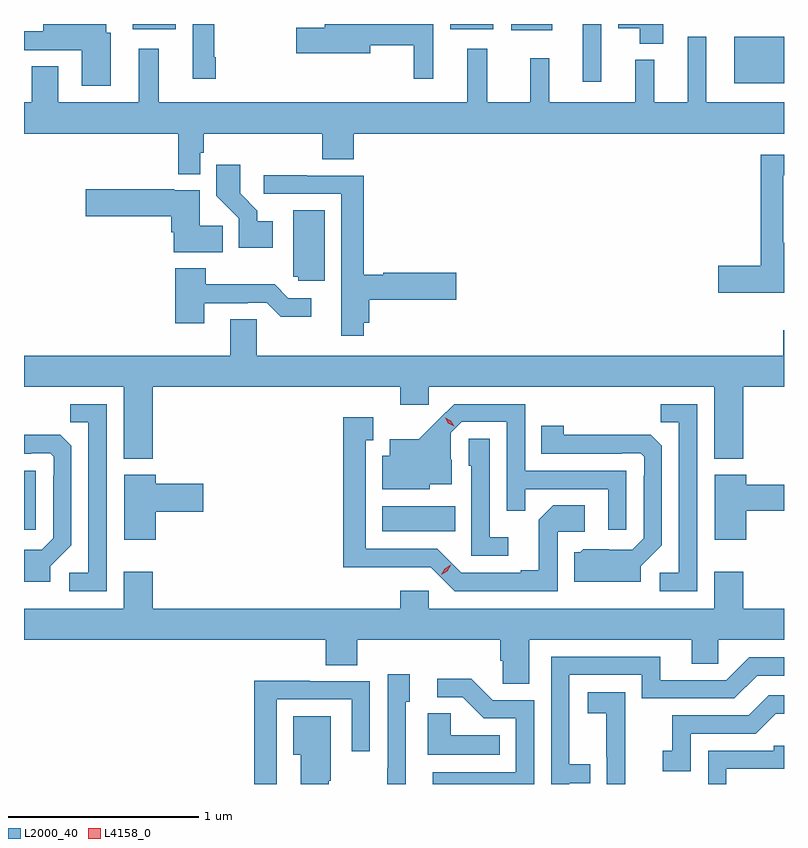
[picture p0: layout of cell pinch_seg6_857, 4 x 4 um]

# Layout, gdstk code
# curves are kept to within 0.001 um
import gdstk
lib = gdstk.Library(unit=1e-6, precision=1e-09)
def R(c, l, rs):  # rectangles x0, y0, x1, y1
    for r in rs: c.add(gdstk.rectangle(r[:2], r[2:], *l))
def P(c, l, *ps):  # polygons
    for p in ps: c.add(gdstk.Polygon(p, *l))
L2000_40 = (2000, 40)
L4158_0 = (4158, 0)

pinch_seg6_857 = lib.new_cell('pinch_seg6_857')
R(pinch_seg6_857, L2000_40, [(143.366,918.602,143.75,918.736), (141.48,918.612,141.543,918.921), (145.217,920.96,145.48,921.205), (144.422,920.97,144.519,921.273), (144.044,921.239,144.259,921.273), (142.052,921.245,142.279,921.273), (143.723,921.245,143.95,921.273)])
P(pinch_seg6_857, L2000_40, [(141.937,921.228),(141.913,921.228),(141.913,921.273),(141.581,921.273),(141.581,921.236),(141.48,921.236),(141.48,921.135),(141.785,921.135),(141.785,920.949),(141.937,920.949)],
  [(143.635,921.273),(143.063,921.273),(143.063,921.254),(142.914,921.254),(142.914,921.119),(143.302,921.119),(143.302,921.162),(143.531,921.162),(143.531,920.985),(143.635,920.985)],
  [(144.844,921.273),(144.608,921.273),(144.608,921.251),(144.722,921.251),(144.722,921.17),(144.844,921.17)],
  [(142.489,921.097),(142.481,921.097),(142.481,921.273),(142.367,921.273),(142.367,920.985),(142.489,920.985)],
  [(142.407,920.595),(142.427,920.595),(142.427,920.696),(143.051,920.696),(143.051,920.56),(143.216,920.56),(143.216,920.696),(145.48,920.696),(145.48,920.86),(145.072,920.86),(145.072,921.205),(144.974,921.205),(144.974,920.86),(144.797,920.86),(144.797,921.085),(144.698,921.085),(144.698,920.86),(144.245,920.86),(144.245,921.094),(144.145,921.094),(144.145,920.86),(143.917,920.86),(143.917,921.142),(143.813,921.142),(143.813,920.86),(142.189,920.86),(142.189,921.142),(142.085,921.142),(142.085,920.86),(141.661,920.86),(141.661,921.05),(141.521,921.05),(141.521,920.86),(141.48,920.86),(141.48,920.696),(142.291,920.696),(142.291,920.483),(142.407,920.483)],
  [(145.48,920.122),(145.475,920.122),(145.475,920.478),(145.48,920.478),(145.48,920.586),(145.357,920.586),(145.357,920),(145.134,920),(145.134,919.858),(145.48,919.858)],
  [(142.789,920.236),(142.708,920.236),(142.708,920.291),(142.618,920.381),(142.618,920.533),(142.492,920.533),(142.492,920.37),(142.611,920.251),(142.611,920.096),(142.789,920.096)],
  [(143.267,919.7),(143.297,919.7),(143.297,919.822),(143.755,919.822),(143.755,919.964),(143.37,919.964),(143.37,919.952),(143.267,919.952),(143.267,920.475),(142.967,920.475),(142.967,920.478),(142.743,920.478),(142.743,920.379),(143.151,920.379),(143.151,919.632),(143.267,919.632)],
  [(142.526,920.21),(142.405,920.21),(142.405,920.398),(142.272,920.398),(142.272,920.403),(141.804,920.403),(141.804,920.261),(142.256,920.261),(142.256,920.177),(142.268,920.177),(142.268,920.072),(142.526,920.072)],
  [(143.062,920.293),(142.898,920.293),(142.898,919.944),(142.923,919.944),(142.923,919.923),(143.062,919.923)],
  [(142.429,919.803),(142.658,919.803),(142.658,919.806),(142.758,919.806),(142.831,919.733),(142.993,919.733),(142.993,919.83),(142.872,919.83),(142.799,919.903),(142.437,919.903),(142.437,919.987),(142.277,919.987),(142.277,919.698),(142.429,919.698)],
  [(142.157,919.364),(143.459,919.364),(143.459,919.269),(143.61,919.269),(143.61,919.364),(145.112,919.364),(145.112,918.986),(145.265,918.986),(145.265,919.364),(145.48,919.364),(145.48,919.66),(145.475,919.66),(145.475,919.528),(142.704,919.528),(142.704,919.718),(142.565,919.718),(142.565,919.528),(141.48,919.528),(141.48,919.364),(142.004,919.364),(142.004,918.986),(142.157,918.986)],
  [(141.915,919.272),(141.724,919.272),(141.724,919.177),(141.819,919.177),(141.819,918.384),(141.717,918.384),(141.717,918.288),(141.915,918.288)],
  [(145.023,919.272),(144.832,919.272),(144.832,919.177),(144.927,919.177),(144.927,918.384),(144.825,918.384),(144.825,918.288),(145.023,918.288)],
  [(144.651,918.921),(144.117,918.921),(144.117,919.272),(143.744,919.272),(143.557,919.087),(143.405,919.087),(143.405,919),(143.366,919),(143.366,918.824),(143.616,918.824),(143.616,918.851),(143.731,918.851),(143.731,918.98),(143.727,918.98),(143.727,919.122),(143.784,919.179),(144.021,919.179),(144.021,918.712),(144.119,918.712),(144.119,918.825),(144.555,918.825),(144.555,918.612),(144.651,918.612)],
  [(144.288,918.6),(144.43,918.6),(144.43,918.74),(144.265,918.74),(144.189,918.664),(144.189,918.397),(144.095,918.397),(144.095,918.384),(143.781,918.384),(143.655,918.51),(143.278,918.51),(143.278,919.083),(143.317,919.083),(143.317,919.204),(143.16,919.204),(143.16,918.413),(143.622,918.414),(143.748,918.288),(144.288,918.288)],
  [(144.727,918.42),(144.837,918.53),(144.837,919.052),(144.778,919.111),(144.321,919.112),(144.321,919.159),(144.202,919.159),(144.202,919.011),(144.626,919.011),(144.626,919.014),(144.726,919.014),(144.744,918.996),(144.744,918.896),(144.741,918.896),(144.741,918.567),(144.681,918.507),(144.424,918.508),(144.408,918.492),(144.377,918.492),(144.377,918.338),(144.727,918.338)],
  [(141.619,918.42),(141.729,918.53),(141.729,919.052),(141.67,919.111),(141.48,919.112),(141.48,919.011),(141.518,919.011),(141.518,919.014),(141.618,919.014),(141.636,918.996),(141.636,918.896),(141.633,918.896),(141.633,918.567),(141.573,918.507),(141.48,918.507),(141.48,918.338),(141.619,918.338)],
  [(144.028,918.571),(143.931,918.571),(143.931,919.091),(143.82,919.091),(143.82,918.948),(143.835,918.948),(143.835,918.474),(144.028,918.474)],
  [(142.174,918.707),(142.423,918.707),(142.423,918.854),(142.174,918.854),(142.174,918.901),(142.007,918.901),(142.007,918.558),(142.174,918.558)],
  [(145.282,918.712),(145.48,918.712),(145.48,918.848),(145.282,918.848),(145.282,918.901),(145.115,918.901),(145.115,918.558),(145.282,918.558)],
  [(144.139,918.032),(144.995,918.032),(144.995,917.905),(145.134,917.905),(145.134,918.032),(145.48,918.032),(145.48,918.196),(145.265,918.196),(145.265,918.391),(145.112,918.391),(145.112,918.196),(143.61,918.196),(143.61,918.289),(143.459,918.289),(143.459,918.196),(142.157,918.196),(142.157,918.391),(142.004,918.391),(142.004,918.196),(141.48,918.196),(141.48,918.032),(143.069,918.032),(143.069,917.899),(143.234,917.899),(143.234,918.032),(143.987,918.032),(143.987,917.923),(144,917.923),(144,917.8),(144.139,917.8)],
  [(144.351,917.277),(144.461,917.277),(144.461,917.378),(144.351,917.378),(144.351,917.847),(144.732,917.847),(144.732,917.724),(145.218,917.724),(145.338,917.844),(145.48,917.844),(145.48,917.94),(145.296,917.94),(145.176,917.82),(144.829,917.82),(144.829,917.943),(144.255,917.943),(144.255,917.273),(144.351,917.273)],
  [(143.49,917.706),(143.509,917.706),(143.509,917.851),(143.394,917.851),(143.394,917.357),(143.392,917.357),(143.392,917.273),(143.49,917.273)],
  [(144.165,917.715),(143.946,917.715),(143.833,917.828),(143.655,917.828),(143.655,917.73),(143.789,917.73),(143.9,917.619),(144.069,917.619),(144.069,917.334),(143.631,917.334),(143.631,917.273),(144.165,917.273)],
  [(142.809,917.718),(143.205,917.718),(143.205,917.445),(143.301,917.445),(143.301,917.814),(142.985,917.814),(142.985,917.816),(142.693,917.816),(142.693,917.273),(142.809,917.273)],
  [(144.644,917.549),(144.645,917.549),(144.645,917.755),(144.447,917.755),(144.447,917.645),(144.545,917.645),(144.545,917.417),(144.546,917.417),(144.546,917.273),(144.644,917.273)],
  [(144.99,917.538),(145.332,917.538),(145.436,917.642),(145.48,917.642),(145.48,917.739),(145.4,917.739),(145.295,917.634),(144.892,917.634),(144.892,917.449),(144.843,917.449),(144.843,917.34),(144.99,917.34)],
  [(143.984,917.53),(143.727,917.53),(143.727,917.645),(143.606,917.645),(143.606,917.426),(143.984,917.426)],
  [(143.084,917.289),(143.095,917.289),(143.095,917.629),(142.898,917.629),(142.898,917.426),(142.937,917.426),(142.937,917.273),(143.084,917.273)],
  [(145.176,917.352),(145.48,917.352),(145.48,917.475),(145.425,917.475),(145.425,917.448),(145.08,917.448),(145.08,917.273),(145.176,917.273)])
P(pinch_seg6_857, L4158_0, [(143.744,919.156),(143.713,919.171),(143.696,919.2),(143.696,919.201),(143.696,919.201),(143.727,919.186),(143.744,919.156),(143.744,919.156)],
  [(143.676,918.374),(143.676,918.375),(143.694,918.407),(143.726,918.426),(143.726,918.426),(143.726,918.425),(143.708,918.393),(143.676,918.374)])

lib.write_gds('pinch_seg6_857.gds')
